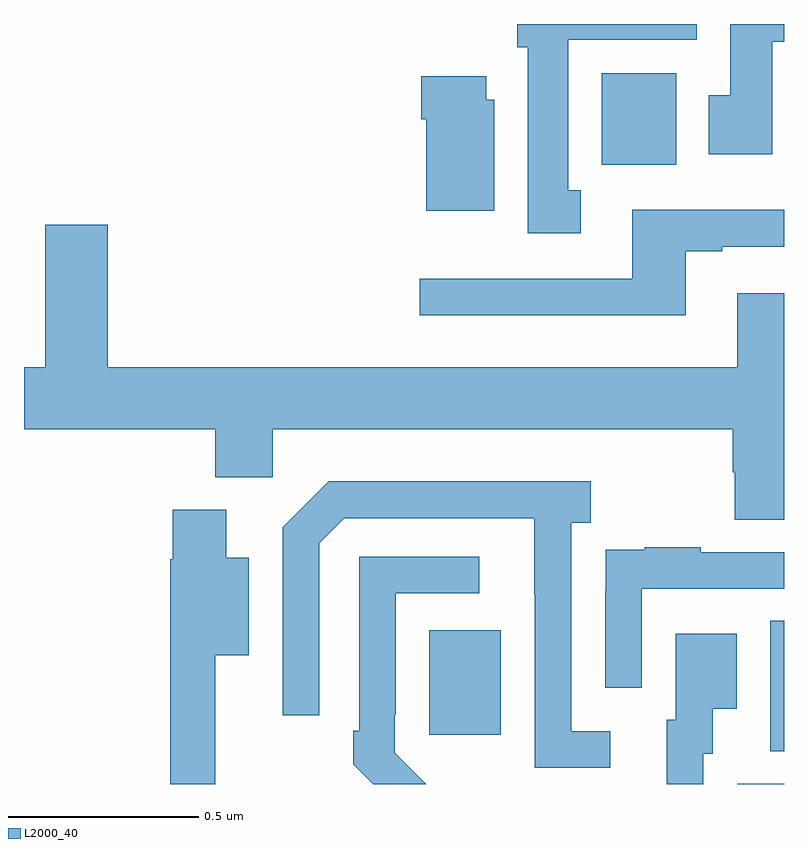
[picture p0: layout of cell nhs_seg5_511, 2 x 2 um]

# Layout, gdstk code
import gdstk
lib = gdstk.Library(unit=1e-6, precision=1e-09)
def R(c, l, rs):  # rectangles x0, y0, x1, y1
    for r in rs: c.add(gdstk.rectangle(r[:2], r[2:], *l))
def P(c, l, *ps):  # polygons
    for p in ps: c.add(gdstk.Polygon(p, *l))
L2000_40 = (2000, 40)

nhs_seg5_511 = lib.new_cell('nhs_seg5_511')
R(nhs_seg5_511, L2000_40, [(118.877,883.799,119,883.8), (118.964,883.885,119,884.228), (118.067,883.929,118.255,884.203), (118.52,885.428,118.717,885.67)])
P(nhs_seg5_511, L2000_40, [(118.465,885.362),(118.432,885.362),(118.432,885.758),(118.771,885.758),(118.771,885.799),(118.298,885.799),(118.298,885.738),(118.325,885.738),(118.325,885.249),(118.465,885.249)],
  [(118.969,885.752),(119,885.752),(119,885.799),(118.859,885.799),(118.859,885.612),(118.802,885.612),(118.802,885.456),(118.969,885.456)],
  [(118.237,885.6),(118.216,885.6),(118.216,885.661),(118.046,885.661),(118.046,885.548),(118.058,885.548),(118.058,885.308),(118.237,885.308)],
  [(118.741,885.201),(118.837,885.201),(118.837,885.213),(119,885.213),(119,885.31),(118.601,885.31),(118.601,885.129),(118.041,885.129),(118.041,885.032),(118.741,885.032)],
  [(119,885.091),(118.877,885.091),(118.877,884.896),(117.22,884.896),(117.22,885.271),(117.056,885.271),(117.056,884.896),(117,884.896),(117,884.732),(117.503,884.732),(117.503,884.606),(117.654,884.606),(117.654,884.732),(118.865,884.732),(118.865,884.619),(118.87,884.619),(118.87,884.494),(119,884.494)],
  [(118.543,883.938),(118.44,883.938),(118.44,884.486),(118.492,884.486),(118.492,884.596),(117.802,884.596),(117.681,884.475),(117.681,883.98),(117.777,883.98),(117.777,884.433),(117.843,884.499),(118.343,884.499),(118.343,884.299),(118.344,884.299),(118.344,883.842),(118.543,883.842)],
  [(117.503,884.138),(117.592,884.138),(117.592,884.395),(117.532,884.395),(117.532,884.521),(117.392,884.521),(117.392,884.391),(117.385,884.391),(117.385,883.799),(117.503,883.799)],
  [(118.626,884.313),(119,884.313),(119,884.409),(118.781,884.409),(118.781,884.422),(118.633,884.422),(118.633,884.415),(118.531,884.415),(118.531,884.306),(118.53,884.306),(118.53,884.052),(118.626,884.052)],
  [(117.975,883.881),(117.975,883.981),(117.978,883.981),(117.978,884.301),(118.198,884.301),(118.198,884.397),(117.882,884.397),(117.882,883.939),(117.867,883.939),(117.867,883.851),(117.919,883.799),(118.058,883.799)],
  [(118.788,883.878),(118.813,883.878),(118.813,883.997),(118.876,883.997),(118.876,884.194),(118.715,884.194),(118.715,883.968),(118.691,883.968),(118.691,883.799),(118.788,883.799)])

lib.write_gds('nhs_seg5_511.gds')
